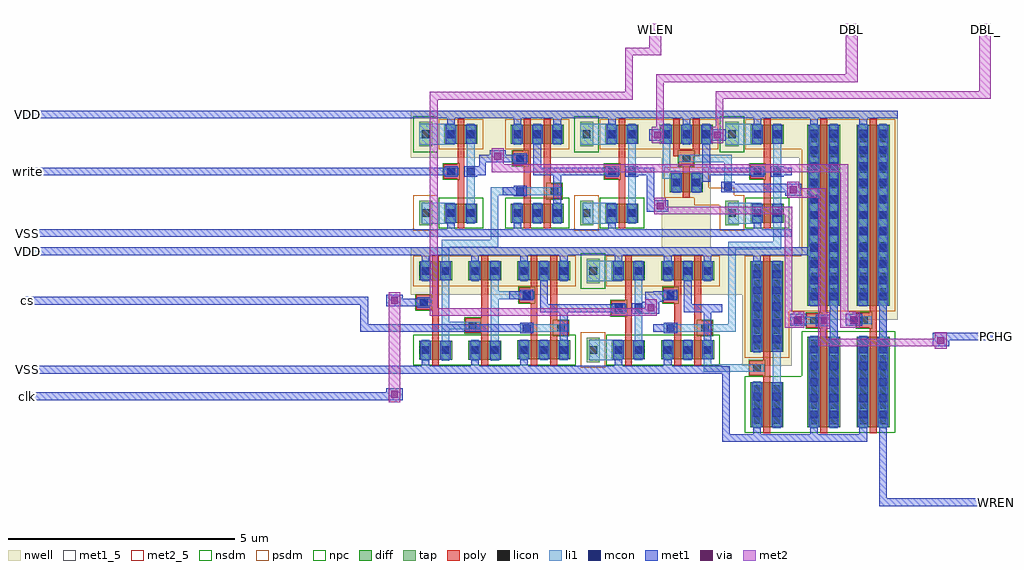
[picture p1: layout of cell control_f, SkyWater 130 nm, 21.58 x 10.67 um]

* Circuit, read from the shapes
.subckt control_f DBL DBL_ PCHG VDD VSS WLEN WREN clk cs write
XM1 n1 clk VSS VSS sky130_fd_pr__nfet_01v8 w=0.42 l=0.15
XM2 n2 write VSS VSS sky130_fd_pr__nfet_01v8 w=0.42 l=0.15
XM3 n3 n1 VSS VSS sky130_fd_pr__nfet_01v8 w=0.42 l=0.15
XM4 n4 n2 VSS VSS sky130_fd_pr__nfet_01v8 w=0.42 l=0.15
XM5 n5 n3 VSS VSS sky130_fd_pr__nfet_01v8 w=0.42 l=0.15
XM6 n6 n1 n4 VSS sky130_fd_pr__nfet_01v8 w=0.42 l=0.15
XM7 n7 cs n5 VSS sky130_fd_pr__nfet_01v8 w=0.42 l=0.15
XM8 n8 n6 VSS VSS sky130_fd_pr__nfet_01v8 w=0.42 l=0.15
XM9 WLEN n7 VSS VSS sky130_fd_pr__nfet_01v8 w=0.42 l=0.15
XM10 n9 WLEN VSS VSS sky130_fd_pr__nfet_01v8 w=0.42 l=0.15
XM11 n10 n11 n9 VSS sky130_fd_pr__nfet_01v8 w=0.42 l=0.15
XM12 n12 n10 VSS VSS sky130_fd_pr__nfet_01v8 w=1 l=0.15
XM13 n11 DBL_ VSS VSS sky130_fd_pr__nfet_01v8 w=0.42 l=0.15
XM14 PCHG n8 VSS VSS sky130_fd_pr__nfet_01v8 w=2 l=0.15
XM15 WREN n2 VSS VSS sky130_fd_pr__nfet_01v8 w=2 l=0.15
XM16 n1 clk VDD VDD sky130_fd_pr__pfet_01v8 w=0.42 l=0.15
XM17 n2 write VDD VDD sky130_fd_pr__pfet_01v8 w=0.42 l=0.15
XM18 n3 n1 VDD VDD sky130_fd_pr__pfet_01v8 w=0.42 l=0.15
XM19 n6 n2 VDD VDD sky130_fd_pr__pfet_01v8 w=0.42 l=0.15
XM20 n7 n3 VDD VDD sky130_fd_pr__pfet_01v8 w=0.42 l=0.15
XM21 VDD n1 n6 VDD sky130_fd_pr__pfet_01v8 w=0.42 l=0.15
XM22 VDD cs n7 VDD sky130_fd_pr__pfet_01v8 w=0.42 l=0.15
XM23 n8 n6 VDD VDD sky130_fd_pr__pfet_01v8 w=0.42 l=0.15
XM24 WLEN n7 VDD VDD sky130_fd_pr__pfet_01v8 w=0.42 l=0.15
XM25 VDD PCHG DBL VDD sky130_fd_pr__pfet_01v8 w=0.42 l=0.15
XM26 n10 WLEN VDD VDD sky130_fd_pr__pfet_01v8 w=0.42 l=0.15
XM27 DBL_ PCHG DBL VDD sky130_fd_pr__pfet_01v8 w=0.42 l=0.15
XM28 DBL_ PCHG VDD VDD sky130_fd_pr__pfet_01v8 w=0.42 l=0.15
XM29 VDD n11 n10 VDD sky130_fd_pr__pfet_01v8 w=0.42 l=0.15
XM30 n12 n10 VDD VDD sky130_fd_pr__pfet_01v8 w=2 l=0.15
XM31 n11 DBL_ VDD VDD sky130_fd_pr__pfet_01v8 w=0.42 l=0.15
XM32 PCHG n8 VDD VDD sky130_fd_pr__pfet_01v8 w=4 l=0.15
XM33 WREN n2 VDD VDD sky130_fd_pr__pfet_01v8 w=4 l=0.15
.ends

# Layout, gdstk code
import gdstk
lib = gdstk.Library(unit=1e-6, precision=5e-09)
def R(c, l, rs):  # rectangles x0, y0, x1, y1
    for r in rs: c.add(gdstk.rectangle(r[:2], r[2:], *l))
def A(c, l, x, y, w, h, nx, ny, dx, dy):  # array of equal rectangles
    R(c, l, [(x+i*dx, y+j*dy, x+i*dx+w, y+j*dy+h) for i in range(nx) for j in range(ny)])
nwell = (64, 20)
diff = (65, 20)
tap = (65, 44)
poly = (66, 20)
licon = (66, 44)
li1 = (67, 20)
mcon = (67, 44)
met1_5 = (68, 5)
met1 = (68, 20)
via = (68, 44)
met2_5 = (69, 5)
met2 = (69, 20)
nsdm = (93, 44)
psdm = (94, 20)
npc = (95, 20)

control_f = lib.new_cell('control_f')
R(control_f, nwell, [(15.88,3.1,16.97,4.125), (15.88,4.125,19.32,4.675), (15.44,4.675,19.32,4.68), (8.555,4.68,19.32,5.72), (14.1,5.72,15.19,7.705), (17.14,5.72,19.32,7.7), (16.975,7.7,19.32,7.705), (8.555,7.705,19.32,8.745)])
R(control_f, diff, [(16.06,1.745,16.79,2.745), (17.32,1.745,18.05,3.745), (18.41,1.745,19.14,3.745), (8.735,3.24,9.465,3.66), (9.825,3.24,10.555,3.66), (10.91,3.245,12.08,3.665), (13,3.245,13.73,3.665), (14.09,3.245,15.26,3.665), (16.06,3.41,16.79,5.41), (17.32,4.435,18.05,8.435), (18.41,4.435,19.14,8.435), (8.735,4.99,9.465,5.41), (9.825,4.99,10.555,5.41), (10.91,4.99,12.08,5.41), (13,4.99,13.73,5.41), (14.09,4.99,15.26,5.41), (9.295,6.27,10.025,6.69), (10.765,6.27,11.935,6.69), (12.855,6.27,13.585,6.69), (16.07,6.27,16.8,6.69), (14.28,6.945,15.01,7.365), (9.295,8.015,10.025,8.435), (10.765,8.015,11.935,8.435), (12.855,8.015,13.585,8.435), (14.06,8.015,15.23,8.435), (16.07,8.015,16.8,8.435)])
R(control_f, tap, [(12.44,3.185,12.73,3.725), (12.44,4.93,12.73,5.47), (8.735,6.21,9.025,6.75), (12.295,6.21,12.585,6.75), (15.51,6.21,15.8,6.75), (8.735,7.955,9.025,8.495), (12.295,7.955,12.585,8.495), (15.51,7.955,15.8,8.495)])
R(control_f, poly, [(16.35,1.615,16.5,2.89), (17.61,1.615,17.76,3.94), (18.7,1.615,18.85,3.945), (16.04,2.89,16.5,3.22), (9.025,3.11,9.175,4.34), (10.115,3.11,10.265,3.83), (11.2,3.115,11.35,4.5), (11.64,3.115,11.79,3.775), (13.29,3.115,13.44,4.21), (14.38,3.115,14.53,4.5), (14.82,3.115,14.97,3.775), (16.35,3.22,16.5,5.54), (11.64,3.775,12.04,4.105), (14.82,3.775,15.22,4.105), (9.755,3.83,10.265,4.16), (17.3,3.94,17.76,4.27), (18.405,3.945,18.85,4.275), (11.64,4.105,11.79,5.54), (14.82,4.105,14.97,5.54), (10.115,4.16,10.265,5.54), (12.985,4.21,13.44,4.54), (17.61,4.27,17.76,8.565), (18.7,4.275,18.85,8.565), (8.67,4.34,9.175,4.675), (10.95,4.5,11.35,4.83), (14.13,4.5,14.53,4.83), (13.29,4.54,13.44,5.54), (9.025,4.675,9.175,5.54), (11.2,4.83,11.35,5.54), (14.38,4.83,14.53,5.54), (9.585,6.14,9.735,7.235), (11.055,6.14,11.205,7.525), (11.495,6.14,11.645,6.8), (13.145,6.14,13.295,7.235), (16.36,6.14,16.51,7.235), (11.495,6.8,11.895,7.13), (14.57,6.815,14.72,7.495), (11.495,7.13,11.645,8.565), (9.28,7.235,9.735,7.565), (12.84,7.235,13.295,7.565), (16.055,7.235,16.51,7.565), (14.565,7.495,14.72,7.525), (10.805,7.525,11.205,7.855), (14.48,7.525,14.805,7.735), (9.585,7.565,9.735,8.565), (13.145,7.565,13.295,8.565), (16.36,7.565,16.51,8.565), (14.35,7.735,14.94,7.885), (11.055,7.855,11.205,8.565), (14.35,7.885,14.5,8.565), (14.79,7.885,14.94,8.565)])
A(control_f, licon, 17.38, 1.81, 0.17, 0.17, 1, 6, 0, 0.34)
A(control_f, licon, 17.82, 1.81, 0.17, 0.17, 1, 6, 0, 0.34)
A(control_f, licon, 18.47, 1.81, 0.17, 0.17, 1, 6, 0, 0.34)
A(control_f, licon, 18.91, 1.81, 0.17, 0.17, 1, 6, 0, 0.34)
A(control_f, licon, 16.12, 1.82, 0.17, 0.17, 1, 3, 0, 0.34)
A(control_f, licon, 16.56, 1.82, 0.17, 0.17, 1, 3, 0, 0.34)
A(control_f, licon, 10.97, 3.37, 0.17, 0.17, 3, 2, 0.44, 1.745)
A(control_f, licon, 14.15, 3.37, 0.17, 0.17, 3, 2, 0.44, 1.745)
A(control_f, licon, 16.12, 3.475, 0.17, 0.17, 1, 6, 0, 0.34)
A(control_f, licon, 16.56, 3.475, 0.17, 0.17, 1, 6, 0, 0.34)
A(control_f, licon, 17.38, 4.65, 0.17, 0.17, 1, 11, 0, 0.34)
A(control_f, licon, 17.82, 4.65, 0.17, 0.17, 1, 11, 0, 0.34)
A(control_f, licon, 18.47, 4.65, 0.17, 0.17, 1, 11, 0, 0.34)
A(control_f, licon, 18.91, 4.65, 0.17, 0.17, 1, 11, 0, 0.34)
A(control_f, licon, 10.825, 6.395, 0.17, 0.17, 3, 2, 0.44, 1.745)
A(control_f, licon, 14.12, 8.14, 0.17, 0.17, 3, 1, 0.44, 0)
R(control_f, licon, [(16.12,2.97,16.29,3.14), (8.795,3.365,8.965,3.535), (9.235,3.365,9.405,3.535), (9.885,3.365,10.055,3.535), (10.325,3.365,10.495,3.535), (12.5,3.37,12.67,3.54), (13.06,3.37,13.23,3.54), (13.5,3.37,13.67,3.54), (11.79,3.855,11.96,4.025), (14.97,3.855,15.14,4.025), (9.835,3.91,10.005,4.08), (17.38,4.02,17.55,4.19), (18.49,4.025,18.66,4.195), (13.065,4.29,13.235,4.46), (8.755,4.42,8.925,4.59), (11.03,4.58,11.2,4.75), (14.21,4.58,14.38,4.75), (8.795,5.115,8.965,5.285), (9.235,5.115,9.405,5.285), (9.885,5.115,10.055,5.285), (10.325,5.115,10.495,5.285), (12.5,5.115,12.67,5.285), (13.06,5.115,13.23,5.285), (13.5,5.115,13.67,5.285), (8.795,6.395,8.965,6.565), (9.355,6.395,9.525,6.565), (9.795,6.395,9.965,6.565), (12.355,6.395,12.525,6.565), (12.915,6.395,13.085,6.565), (13.355,6.395,13.525,6.565), (15.57,6.395,15.74,6.565), (16.13,6.395,16.3,6.565), (16.57,6.395,16.74,6.565), (11.645,6.88,11.815,7.05), (14.34,7.07,14.51,7.24), (14.78,7.07,14.95,7.24), (9.36,7.315,9.53,7.485), (12.92,7.315,13.09,7.485), (16.135,7.315,16.305,7.485), (10.885,7.605,11.055,7.775), (14.56,7.605,14.73,7.775), (8.795,8.14,8.965,8.31), (9.355,8.14,9.525,8.31), (9.795,8.14,9.965,8.31), (12.355,8.14,12.525,8.31), (12.915,8.14,13.085,8.31), (13.355,8.14,13.525,8.31), (15.57,8.14,15.74,8.31), (16.13,8.14,16.3,8.31), (16.57,8.14,16.74,8.31)])
A(control_f, li1, 10.97, 3.225, 0.17, 0.46, 3, 2, 0.44, 1.745)
A(control_f, li1, 14.15, 4.97, 0.17, 0.46, 3, 1, 0.44, 0)
A(control_f, li1, 10.825, 6.25, 0.17, 0.46, 3, 2, 0.44, 1.745)
R(control_f, li1, [(16.12,1.725,16.29,2.765), (16.56,1.725,16.73,5.43), (17.38,1.725,17.55,3.765), (17.82,1.725,17.99,8.455), (18.47,1.725,18.64,3.765), (18.91,1.725,19.08,8.455), (15.03,2.97,16.37,3.14), (15.03,3.14,15.2,3.685), (8.795,3.22,8.965,3.68), (9.235,3.22,9.405,3.91), (9.885,3.22,10.055,3.68), (10.325,3.22,10.495,4.58), (12.5,3.225,13.23,3.685), (13.5,3.225,13.67,5.43), (14.15,3.225,14.32,3.685), (14.59,3.225,14.76,3.685), (16.12,3.39,16.29,5.43), (10.97,3.855,12.04,4.025), (14.15,3.855,15.74,4.025), (9.235,3.91,10.085,4.08), (17.025,4.02,17.63,4.19), (15.57,4.025,15.74,5.68), (18.265,4.025,18.74,4.195), (9.235,4.08,9.405,5.72), (12.985,4.29,13.315,4.46), (17.38,4.415,17.55,8.455), (18.47,4.415,18.64,8.455), (8.67,4.42,9.005,4.59), (10.325,4.58,11.28,4.75), (14.13,4.58,14.46,4.75), (10.325,4.75,10.495,5.43), (8.795,4.97,8.965,5.43), (9.885,4.97,10.055,5.43), (12.44,4.97,13.23,5.43), (15.57,5.68,16.74,5.85), (9.235,5.72,10.485,5.89), (16.57,5.85,16.74,8.455), (10.315,5.89,10.485,6.88), (8.795,6.25,9.525,6.71), (9.795,6.25,9.965,8.455), (12.355,6.25,13.085,6.71), (13.355,6.25,13.525,8.455), (15.57,6.25,16.3,6.71), (10.315,6.88,11.895,7.05), (14.34,6.925,14.51,7.245), (14.78,6.925,14.95,7.385), (15.48,6.975,15.65,7.605), (14.12,7.245,14.51,7.415), (9.28,7.315,9.61,7.485), (12.84,7.315,13.17,7.485), (16.055,7.315,16.385,7.485), (14.12,7.415,14.29,8.455), (10.805,7.605,11.135,7.775), (14.48,7.605,15.65,7.775), (8.735,7.995,9.525,8.455), (12.295,7.995,13.085,8.455), (14.56,7.995,14.73,8.455), (15,7.995,15.17,8.455), (15.51,7.995,16.3,8.455)])
A(control_f, mcon, 17.38, 1.94, 0.17, 0.17, 1, 5, 0, 0.36)
A(control_f, mcon, 17.82, 1.94, 0.17, 0.17, 1, 5, 0, 0.36)
A(control_f, mcon, 18.47, 1.94, 0.17, 0.17, 1, 5, 0, 0.36)
A(control_f, mcon, 18.91, 1.94, 0.17, 0.17, 1, 5, 0, 0.36)
A(control_f, mcon, 10.97, 3.37, 0.17, 0.17, 3, 2, 0.44, 1.745)
A(control_f, mcon, 14.15, 3.37, 0.17, 0.17, 3, 2, 0.44, 1.745)
A(control_f, mcon, 16.12, 3.605, 0.17, 0.17, 1, 5, 0, 0.36)
A(control_f, mcon, 16.56, 3.605, 0.17, 0.17, 1, 5, 0, 0.36)
A(control_f, mcon, 17.38, 4.55, 0.17, 0.17, 1, 11, 0, 0.36)
A(control_f, mcon, 17.82, 4.55, 0.17, 0.17, 1, 11, 0, 0.36)
A(control_f, mcon, 18.47, 4.55, 0.17, 0.17, 1, 11, 0, 0.36)
A(control_f, mcon, 18.91, 4.55, 0.17, 0.17, 1, 11, 0, 0.36)
A(control_f, mcon, 10.825, 6.395, 0.17, 0.17, 3, 2, 0.44, 1.745)
A(control_f, mcon, 14.12, 8.14, 0.17, 0.17, 3, 1, 0.44, 0)
R(control_f, mcon, [(16.12,1.98,16.29,2.15), (16.56,1.98,16.73,2.15), (16.12,2.34,16.29,2.51), (16.56,2.34,16.73,2.51), (8.795,3.365,8.965,3.535), (9.235,3.365,9.405,3.535), (9.885,3.365,10.055,3.535), (10.325,3.365,10.495,3.535), (13.06,3.37,13.23,3.54), (13.5,3.37,13.67,3.54), (11.03,3.855,11.2,4.025), (14.21,3.855,14.38,4.025), (17.025,4.02,17.195,4.19), (18.265,4.025,18.435,4.195), (13.065,4.29,13.235,4.46), (13.5,4.29,13.67,4.46), (8.755,4.42,8.925,4.59), (11.03,4.58,11.2,4.75), (14.21,4.58,14.38,4.75), (8.795,5.115,8.965,5.285), (9.235,5.115,9.405,5.285), (9.885,5.115,10.055,5.285), (10.325,5.115,10.495,5.285), (13.06,5.115,13.23,5.285), (13.5,5.115,13.67,5.285), (9.355,6.395,9.525,6.565), (9.795,6.395,9.965,6.565), (12.915,6.395,13.085,6.565), (13.355,6.395,13.525,6.565), (16.13,6.395,16.3,6.565), (16.57,6.395,16.74,6.565), (10.885,6.88,11.055,7.05), (15.48,6.975,15.65,7.145), (14.34,7.07,14.51,7.24), (14.78,7.07,14.95,7.24), (9.36,7.315,9.53,7.485), (9.795,7.315,9.965,7.485), (12.92,7.315,13.09,7.485), (13.355,7.315,13.525,7.485), (16.135,7.315,16.305,7.485), (16.57,7.315,16.74,7.485), (10.885,7.605,11.055,7.775), (9.355,8.14,9.525,8.31), (9.795,8.14,9.965,8.31), (12.915,8.14,13.085,8.31), (13.355,8.14,13.525,8.31), (16.13,8.14,16.3,8.31), (16.57,8.14,16.74,8.31)])
R(control_f, met1_5, [(21.41,0,21.58,0.17), (0,2.345,0.17,2.515), (0,2.93,0.17,3.1), (21.41,3.67,21.58,3.84), (0,4.455,0.17,4.625), (0,5.55,0.17,5.72), (0,5.955,0.17,6.125), (0,7.315,0.17,7.485), (0,8.575,0.17,8.745)])
A(control_f, met1, 10.94, 3.245, 0.23, 0.42, 3, 2, 0.44, 1.745)
A(control_f, met1, 14.12, 3.245, 0.23, 0.42, 3, 2, 0.44, 1.745)
A(control_f, met1, 10.795, 6.27, 0.23, 0.42, 3, 2, 0.44, 1.745)
R(control_f, met1, [(18.91,0,21.58,0.17), (18.91,0.17,19.08,1.745), (15.44,1.42,18.64,1.59), (15.44,1.59,15.61,2.93), (16.12,1.59,16.29,1.745), (17.38,1.59,17.55,1.745), (18.47,1.59,18.64,1.745), (16.09,1.745,16.32,2.745), (16.53,1.745,16.76,2.745), (17.35,1.745,17.58,3.745), (17.79,1.745,18.02,3.745), (18.44,1.745,18.67,3.745), (18.88,1.745,19.11,3.745), (0,2.345,8.37,2.515), (8.01,2.515,8.37,2.605), (0,2.93,15.61,3.095), (0,3.095,15.44,3.1), (8.795,3.1,8.965,3.24), (9.885,3.1,10.055,3.24), (10.97,3.1,11.14,3.245), (13.06,3.1,13.23,3.245), (14.15,3.1,14.32,3.245), (8.765,3.24,8.995,3.66), (9.205,3.24,9.435,3.66), (9.855,3.24,10.085,3.66), (10.295,3.24,10.525,3.66), (13.03,3.245,13.26,3.665), (13.47,3.245,13.7,3.665), (16.09,3.41,16.32,5.41), (16.53,3.41,16.76,5.41), (20.09,3.535,20.455,3.67), (11.85,3.665,12.02,4.29), (15.03,3.665,15.2,4.29), (20.09,3.67,21.58,3.84), (17.82,3.745,17.99,3.975), (18.91,3.745,19.08,4.435), (10.97,3.825,11.26,3.855), (14.15,3.825,14.44,3.855), (7.44,3.855,11.26,4.025), (13.91,3.855,14.44,4.025), (17.51,3.975,17.99,4.235), (16.94,3.99,17.3,4.25), (18.17,3.99,18.53,4.25), (7.44,4.025,7.61,4.455), (10.97,4.025,11.26,4.055), (14.15,4.025,14.44,4.055), (17.82,4.235,17.99,4.435), (13.005,4.26,13.295,4.29), (13.44,4.26,14.045,4.49), (11.41,4.29,13.295,4.46), (14.59,4.29,15.44,4.46), (8.695,4.39,8.985,4.42), (8.01,4.42,8.985,4.59), (17.35,4.435,17.58,5.55), (17.79,4.435,18.02,8.435), (18.44,4.435,18.67,8.435), (18.88,4.435,19.11,8.435), (0,4.455,7.61,4.625), (11.41,4.46,11.58,4.99), (13.005,4.46,13.295,4.49), (14.59,4.46,14.76,4.99), (13.685,4.49,14.045,4.52), (13.74,4.52,14.15,4.55), (10.97,4.55,11.26,4.58), (13.74,4.55,14.44,4.745), (10.73,4.58,11.26,4.75), (8.01,4.59,8.37,4.68), (8.695,4.59,8.985,4.62), (13.91,4.745,14.44,4.75), (10.97,4.75,11.26,4.78), (14.15,4.75,14.44,4.78), (8.765,4.99,8.995,5.41), (9.205,4.99,9.435,5.41), (9.855,4.99,10.085,5.41), (10.295,4.99,10.525,5.41), (13.03,4.99,13.26,5.41), (13.47,4.99,13.7,5.41), (8.795,5.41,8.965,5.55), (9.885,5.41,10.055,5.55), (10.97,5.41,11.14,5.55), (11.85,5.41,12.02,5.55), (13.06,5.41,13.23,5.55), (14.15,5.41,14.32,5.55), (15.03,5.41,15.2,5.55), (16.12,5.41,16.29,5.55), (0,5.55,17.58,5.72), (17.35,5.72,17.58,8.435), (0,5.955,16.98,6.125), (9.355,6.125,9.525,6.27), (10.825,6.125,10.995,6.27), (12.915,6.125,13.085,6.27), (16.13,6.125,16.3,6.27), (9.325,6.27,9.555,6.69), (9.765,6.27,9.995,6.69), (12.885,6.27,13.115,6.69), (13.325,6.27,13.555,6.69), (16.1,6.27,16.33,6.69), (16.54,6.27,16.77,6.69), (13.765,6.505,14.245,6.765), (11.705,6.69,11.875,7.315), (13.765,6.765,13.935,7.315), (10.825,6.85,11.115,6.88), (16.83,6.865,17.19,6.945), (10.585,6.88,11.115,7.05), (14.31,6.945,14.54,7.365), (14.75,6.945,14.98,7.175), (15.42,6.945,17.19,7.125), (10.825,7.05,11.115,7.08), (15.42,7.125,15.71,7.175), (14.75,7.175,15.17,7.315), (9.3,7.285,9.59,7.315), (9.735,7.285,10.025,7.315), (12.86,7.285,13.15,7.315), (13.295,7.285,13.585,7.315), (16.075,7.285,16.365,7.315), (16.51,7.285,16.8,7.315), (0,7.315,9.59,7.485), (9.735,7.315,10.205,7.515), (11.265,7.315,13.15,7.485), (13.295,7.315,13.935,7.485), (14.75,7.315,16.365,7.365), (16.51,7.315,16.98,7.485), (15,7.365,16.365,7.485), (9.3,7.485,9.59,7.515), (11.265,7.485,11.435,8.015), (12.86,7.485,13.15,7.515), (13.295,7.485,13.585,7.515), (15,7.485,15.17,8.015), (16.075,7.485,16.365,7.515), (16.51,7.485,16.8,7.515), (10.065,7.515,10.205,7.605), (10.825,7.575,11.115,7.605), (10.065,7.605,11.115,7.775), (10.295,7.775,10.655,7.865), (10.825,7.775,11.115,7.805), (9.325,8.015,9.555,8.435), (9.765,8.015,9.995,8.435), (12.885,8.015,13.115,8.435), (13.325,8.015,13.555,8.435), (14.09,8.015,14.32,8.075), (14.53,8.015,14.76,8.435), (14.97,8.015,15.2,8.075), (16.1,8.015,16.33,8.435), (16.54,8.015,16.77,8.435), (13.83,8.075,14.32,8.335), (14.97,8.075,15.515,8.335), (14.09,8.335,14.32,8.435), (14.97,8.335,15.2,8.435), (9.355,8.435,9.525,8.575), (10.825,8.435,10.995,8.575), (11.705,8.435,11.875,8.575), (12.915,8.435,13.085,8.575), (14.56,8.435,14.73,8.575), (16.13,8.435,16.3,8.575), (17.38,8.435,17.55,8.575), (18.47,8.435,18.64,8.575), (0,8.575,19.32,8.745)])
R(control_f, via, [(8.115,2.4,8.265,2.55), (20.195,3.59,20.345,3.74), (17.615,4.03,17.765,4.18), (17.045,4.045,17.195,4.195), (18.275,4.045,18.425,4.195), (13.79,4.315,13.94,4.465), (8.115,4.475,8.265,4.625), (13.99,6.56,14.14,6.71), (16.935,6.92,17.085,7.07), (10.4,7.66,10.55,7.81), (13.935,8.13,14.085,8.28), (15.255,8.13,15.405,8.28)])
R(control_f, met2_5, [(13.825,10.405,14.085,10.665), (18.17,10.405,18.43,10.665), (21.12,10.405,21.38,10.665)])
R(control_f, met2, [(8.06,2.295,8.32,4.73), (20.14,3.485,20.405,3.535), (17.56,3.535,20.405,3.705), (17.56,3.705,17.73,3.925), (20.14,3.705,20.405,3.845), (17.56,3.925,17.82,4.285), (16.82,3.94,17.25,4.3), (18.05,3.94,18.48,4.3), (8.975,4.21,13.995,4.38), (17.56,4.285,17.73,6.815), (16.82,4.3,16.99,6.455), (18.05,4.3,18.22,7.385), (8.975,4.38,9.145,8.99), (13.735,4.38,13.995,4.57), (13.935,6.455,16.99,6.625), (13.935,6.625,14.195,6.815), (16.88,6.815,17.73,7.03), (16.88,7.03,17.14,7.175), (10.345,7.385,18.22,7.56), (10.345,7.56,10.605,7.915), (13.88,8.025,14.145,8.385), (15.2,8.025,15.465,8.385), (13.975,8.385,14.145,9.005), (15.295,8.385,15.465,9.005), (8.975,8.99,13.46,9.16), (13.975,9.005,14.15,9.375), (15.295,9.005,21.38,9.175), (13.29,9.16,13.46,9.965), (21.12,9.175,21.38,10.665), (13.975,9.375,18.43,9.545), (18.17,9.545,18.43,10.665), (13.29,9.965,14.085,10.135), (13.825,10.135,14.085,10.665)])
R(control_f, nsdm, [(15.935,1.62,19.265,2.87), (17.195,2.87,19.265,3.87), (8.61,3.115,10.68,3.12), (8.61,3.12,12.205,3.785), (12.875,3.12,15.385,3.79), (10.785,3.785,12.205,3.79), (12.315,4.805,12.855,5.595), (9.17,6.145,10.15,6.815), (10.64,6.145,12.06,6.815), (12.73,6.145,13.71,6.815), (15.945,6.145,16.925,6.815), (8.61,7.83,9.15,8.62), (12.17,7.83,12.71,8.62), (15.385,7.83,15.925,8.62)])
R(control_f, psdm, [(12.315,3.06,12.855,3.85), (15.935,3.285,16.915,4.31), (15.935,4.31,19.265,5.535), (8.61,4.865,12.205,5.535), (12.875,4.865,15.385,5.535), (17.195,5.535,19.265,7.89), (8.61,6.085,9.15,6.875), (12.17,6.085,12.71,6.875), (15.385,6.085,15.925,6.655), (14.82,6.655,15.925,6.82), (14.155,6.82,15.925,6.875), (14.155,6.875,15.7,7.04), (14.155,7.04,15.135,7.49), (9.17,7.89,10.15,8.56), (10.64,7.89,12.06,8.56), (12.73,7.89,15.355,8.56), (15.945,7.89,19.265,8.56)])
R(control_f, npc, [(16.02,2.87,16.39,3.24), (11.69,3.755,12.06,4.125), (14.87,3.755,15.24,4.125), (9.735,3.81,10.105,4.18), (17.28,3.92,17.65,4.29), (18.39,3.925,18.76,4.295), (12.965,4.19,13.335,4.56), (8.655,4.32,9.025,4.69), (10.93,4.48,11.3,4.85), (14.11,4.48,14.48,4.85), (11.545,6.78,11.915,7.15), (9.26,7.215,9.63,7.585), (12.82,7.215,13.19,7.585), (16.035,7.215,16.405,7.585), (10.785,7.505,11.155,7.875), (14.46,7.505,14.83,7.875)])
control_f.add(gdstk.Label('WLEN', (13.955,10.535), layer=69, texttype=5))
control_f.add(gdstk.Label('DBL', (18.3,10.535), layer=69, texttype=5))
control_f.add(gdstk.Label('DBL_', (21.25,10.535), layer=69, texttype=5))
control_f.add(gdstk.Label('PCHG', (21.495,3.755), layer=68, texttype=5))
control_f.add(gdstk.Label('WREN', (21.495,0.085), layer=68, texttype=5))
control_f.add(gdstk.Label('VDD', (0.085,8.66), layer=68, texttype=5))
control_f.add(gdstk.Label('write', (0.085,7.4), layer=68, texttype=5))
control_f.add(gdstk.Label('VSS', (0.085,6.04), layer=68, texttype=5))
control_f.add(gdstk.Label('VDD', (0.085,5.635), layer=68, texttype=5))
control_f.add(gdstk.Label('cs', (0.085,4.54), layer=68, texttype=5))
control_f.add(gdstk.Label('VSS', (0.085,3.015), layer=68, texttype=5))
control_f.add(gdstk.Label('clk', (0.085,2.43), layer=68, texttype=5))

lib.write_gds('control_f.gds')
